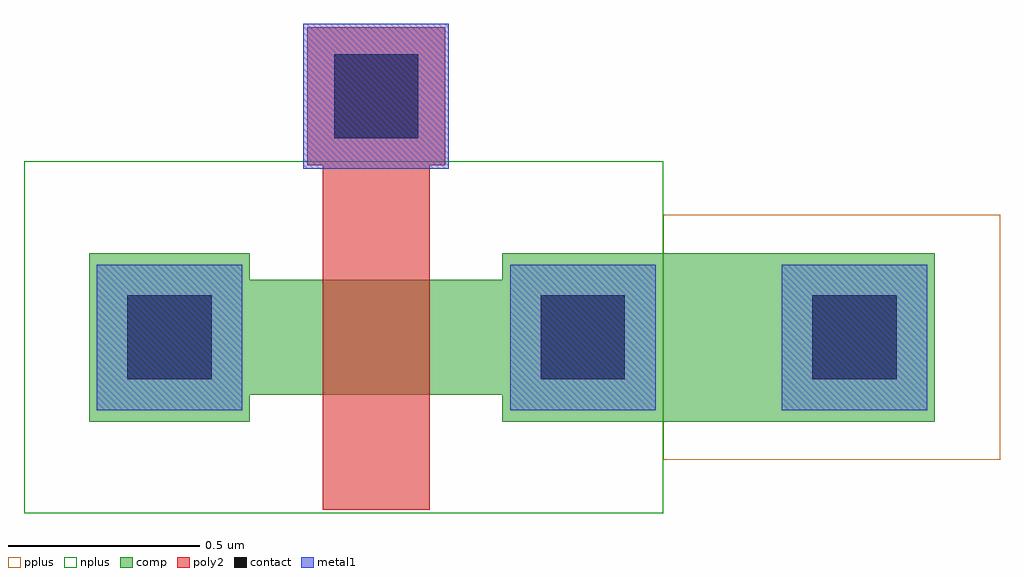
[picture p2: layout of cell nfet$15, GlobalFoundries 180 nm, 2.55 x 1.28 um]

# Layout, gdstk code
import gdstk
lib = gdstk.Library(unit=1e-6, precision=1e-09)
def R(c, l, rs):  # rectangles x0, y0, x1, y1
    for r in rs: c.add(gdstk.rectangle(r[:2], r[2:], *l))
comp = (22, 0)
poly2 = (30, 0)
pplus = (31, 0)
nplus = (32, 0)
contact = (33, 0)
metal1 = (34, 0)

nfet_15 = lib.new_cell('nfet$15')
R(nfet_15, comp, [(-0.42,-0.07,0,0.37), (0.66,-0.07,1.08,0.37), (1.08,-0.07,1.79,0.37), (0,0,0.66,0.3)])
R(nfet_15, poly2, [(0.19,-0.3,0.47,0.6), (0.15,0.6,0.51,0.96)])
R(nfet_15, pplus, [(1.08,-0.17,1.96,0.47)])
R(nfet_15, nplus, [(-0.59,-0.31,1.08,0.61)])
R(nfet_15, contact, [(-0.32,0.04,-0.1,0.26), (0.76,0.04,0.98,0.26), (1.47,0.04,1.69,0.26), (0.22,0.67,0.44,0.89)])
R(nfet_15, metal1, [(-0.4,-0.04,-0.02,0.34), (0.68,-0.04,1.06,0.34), (1.39,-0.04,1.77,0.34), (0.14,0.59,0.52,0.97)])

lib.write_gds('nfet_15.gds')
